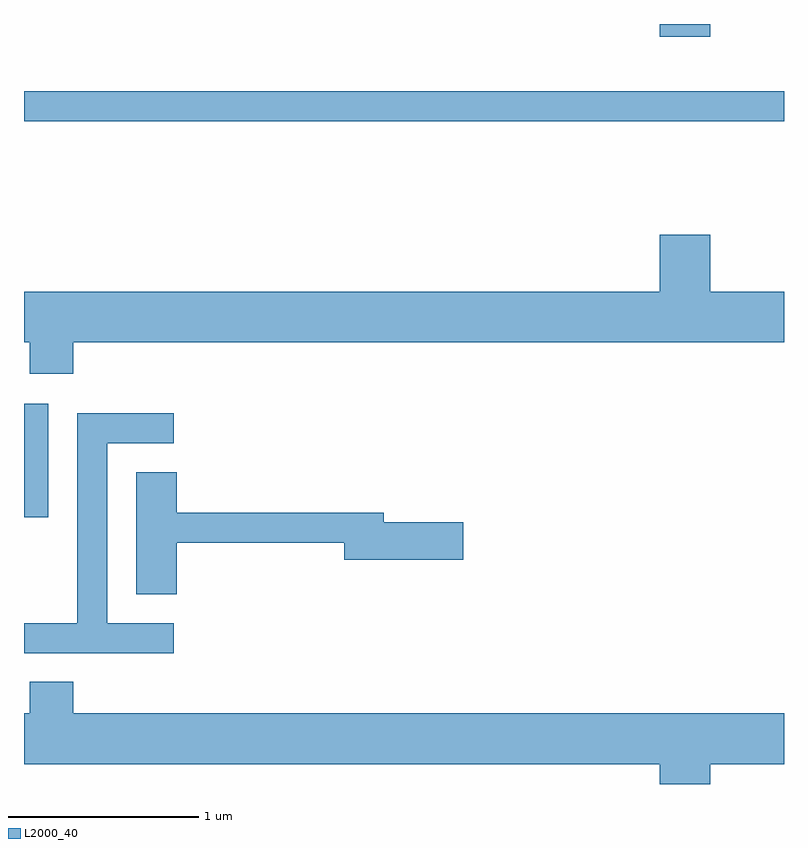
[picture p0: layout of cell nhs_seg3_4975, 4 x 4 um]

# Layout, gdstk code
import gdstk
lib = gdstk.Library(unit=1e-6, precision=1e-09)
def R(c, l, rs):  # rectangles x0, y0, x1, y1
    for r in rs: c.add(gdstk.rectangle(r[:2], r[2:], *l))
def P(c, l, *ps):  # polygons
    for p in ps: c.add(gdstk.Polygon(p, *l))
L2000_40 = (2000, 40)

nhs_seg3_4975 = lib.new_cell('nhs_seg3_4975')
R(nhs_seg3_4975, L2000_40, [(331.611,1147.296,331.739,1147.894), (331.611,1149.381,335.611,1149.539), (334.956,1149.826,335.224,1149.892)])
P(nhs_seg3_4975, L2000_40, [(331.869,1148.216),(335.611,1148.216),(335.611,1148.484),(335.224,1148.484),(335.224,1148.784),(334.956,1148.784),(334.956,1148.484),(331.611,1148.484),(331.611,1148.216),(331.641,1148.216),(331.641,1148.051),(331.869,1148.051)],
  [(332.398,1146.739),(332.049,1146.739),(332.049,1147.686),(332.398,1147.686),(332.398,1147.844),(331.891,1147.844),(331.891,1146.739),(331.611,1146.739),(331.611,1146.581),(332.398,1146.581)],
  [(332.414,1147.161),(333.296,1147.161),(333.296,1147.071),(333.924,1147.071),(333.924,1147.269),(333.504,1147.269),(333.504,1147.319),(332.414,1147.319),(332.414,1147.534),(332.201,1147.534),(332.201,1146.891),(332.414,1146.891)],
  [(335.224,1145.996),(335.611,1145.996),(335.611,1146.264),(331.869,1146.264),(331.869,1146.429),(331.641,1146.429),(331.641,1146.264),(331.611,1146.264),(331.611,1145.996),(334.956,1145.996),(334.956,1145.892),(335.224,1145.892)])

lib.write_gds('nhs_seg3_4975.gds')
